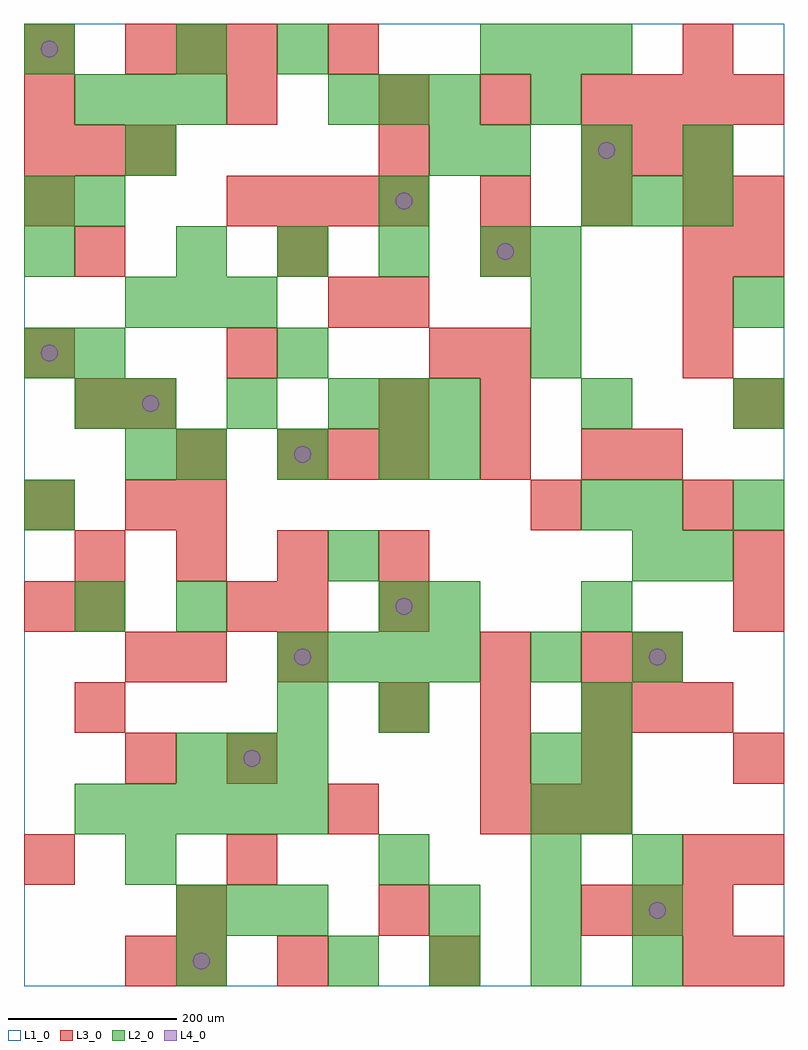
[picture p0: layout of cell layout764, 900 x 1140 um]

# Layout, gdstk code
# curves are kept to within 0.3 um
import gdstk
lib = gdstk.Library(unit=1e-6, precision=1e-09)
def R(c, l, rs):  # rectangles x0, y0, x1, y1
    for r in rs: c.add(gdstk.rectangle(r[:2], r[2:], *l))
def A(c, l, x, y, w, h, nx, ny, dx, dy):  # array of equal rectangles
    R(c, l, [(x+i*dx, y+j*dy, x+i*dx+w, y+j*dy+h) for i in range(nx) for j in range(ny)])
def P(c, l, *ps):  # polygons
    for p in ps: c.add(gdstk.Polygon(p, *l))
L1_0 = (1, 0)
L2_0 = (2, 0)
L3_0 = (3, 0)
L4_0 = (4, 0)

layout764 = lib.new_cell('layout764')
R(layout764, L1_0, [(0,0,900,1140)])
A(layout764, L2_0, 360, 0, 60, 60, 4, 1, 120, 0)
A(layout764, L2_0, 180, 60, 60, 60, 3, 2, 60, 180)
A(layout764, L2_0, 480, 60, 60, 60, 3, 1, 120, 0)
A(layout764, L2_0, 600, 120, 60, 60, 1, 3, 0, 60)
A(layout764, L2_0, 60, 180, 60, 60, 5, 1, 60, 0)
A(layout764, L2_0, 660, 180, 60, 60, 1, 3, 0, 60)
A(layout764, L2_0, 300, 360, 60, 60, 4, 1, 60, 0)
A(layout764, L2_0, 420, 420, 60, 60, 1, 3, 0, 240)
A(layout764, L2_0, 180, 600, 60, 60, 3, 1, 120, 0)
A(layout764, L2_0, 120, 660, 60, 60, 3, 1, 120, 0)
A(layout764, L2_0, 480, 660, 60, 60, 3, 1, 180, 0)
A(layout764, L2_0, 600, 720, 60, 60, 1, 3, 0, 60)
A(layout764, L2_0, 120, 780, 60, 60, 3, 1, 60, 0)
A(layout764, L2_0, 180, 840, 60, 60, 4, 1, 120, 0)
A(layout764, L2_0, 660, 900, 60, 60, 3, 1, 60, 0)
A(layout764, L2_0, 540, 960, 60, 60, 3, 1, 120, 0)
A(layout764, L2_0, 60, 1020, 60, 60, 3, 1, 60, 0)
A(layout764, L2_0, 360, 1020, 60, 60, 3, 1, 60, 0)
A(layout764, L2_0, 540, 1080, 60, 60, 3, 1, 60, 0)
R(layout764, L2_0, [(180,0,240,60), (120,120,180,180), (420,120,480,180), (720,120,780,180), (300,300,360,360), (420,300,480,360), (600,360,660,420), (720,360,780,420), (60,420,120,480), (180,420,240,480), (480,420,540,480), (660,420,720,480), (360,480,420,540), (720,480,780,540), (780,480,840,540), (0,540,60,600), (660,540,720,600), (720,540,780,600), (840,540,900,600), (120,600,180,660), (480,600,540,660), (60,660,120,720), (0,720,60,780), (60,720,120,780), (300,720,360,780), (840,780,900,840), (0,840,60,900), (0,900,60,960), (60,900,120,960), (120,960,180,1020), (480,960,540,1020), (600,1020,660,1080), (0,1080,60,1140), (180,1080,240,1140), (300,1080,360,1140)])
A(layout764, L3_0, 780, 0, 60, 60, 1, 3, 0, 60)
A(layout764, L3_0, 840, 0, 60, 60, 1, 3, 0, 120)
A(layout764, L3_0, 180, 60, 60, 60, 3, 1, 240, 0)
A(layout764, L3_0, 540, 180, 60, 60, 3, 1, 60, 0)
A(layout764, L3_0, 420, 300, 60, 60, 3, 2, 120, 720)
A(layout764, L3_0, 60, 480, 60, 60, 4, 1, 120, 0)
A(layout764, L3_0, 840, 480, 60, 60, 1, 3, 0, 180)
A(layout764, L3_0, 300, 600, 60, 60, 3, 1, 60, 0)
A(layout764, L3_0, 540, 600, 60, 60, 1, 3, 0, 60)
A(layout764, L3_0, 0, 720, 60, 60, 3, 1, 240, 0)
A(layout764, L3_0, 60, 840, 60, 60, 4, 1, 240, 0)
A(layout764, L3_0, 240, 900, 60, 60, 4, 1, 60, 0)
A(layout764, L3_0, 540, 900, 60, 60, 3, 1, 120, 0)
A(layout764, L3_0, 0, 960, 60, 60, 3, 1, 60, 0)
A(layout764, L3_0, 660, 960, 60, 60, 3, 1, 60, 0)
A(layout764, L3_0, 720, 1020, 60, 60, 3, 1, 60, 0)
A(layout764, L3_0, 120, 1080, 60, 60, 3, 1, 60, 0)
R(layout764, L3_0, [(120,0,180,60), (180,0,240,60), (300,0,360,60), (480,0,540,60), (720,60,780,120), (0,120,60,180), (240,120,300,180), (360,180,420,240), (120,240,180,300), (240,240,300,300), (540,240,600,300), (660,240,720,300), (60,300,120,360), (720,300,780,360), (780,300,840,360), (120,360,180,420), (180,360,240,420), (300,360,360,420), (540,360,600,420), (660,360,720,420), (720,360,780,420), (0,420,60,480), (60,420,120,480), (240,420,300,480), (300,420,360,480), (420,420,480,480), (840,420,900,480), (0,540,60,600), (120,540,180,600), (180,540,240,600), (600,540,660,600), (780,540,840,600), (180,600,240,660), (660,600,720,660), (720,600,780,660), (60,660,120,720), (120,660,180,720), (420,660,480,720), (780,720,840,780), (360,780,420,840), (420,780,480,840), (780,780,840,840), (0,900,60,960), (840,900,900,960), (420,960,480,1020), (0,1020,60,1080), (240,1020,300,1080), (0,1080,60,1140), (360,1080,420,1140), (780,1080,840,1140)])
P(layout764, L4_0, [(40,750),(39.239,753.827),(37.071,757.071),(33.827,759.239),(30,760),(26.173,759.239),(22.929,757.071),(20.761,753.827),(20,750),(20.761,746.173),(22.929,742.929),(26.173,740.761),(30,740),(33.827,740.761),(37.071,742.929),(39.239,746.173)],
  [(40,1110),(39.239,1113.827),(37.071,1117.071),(33.827,1119.239),(30,1120),(26.173,1119.239),(22.929,1117.071),(20.761,1113.827),(20,1110),(20.761,1106.173),(22.929,1102.929),(26.173,1100.761),(30,1100),(33.827,1100.761),(37.071,1102.929),(39.239,1106.173)],
  [(160,690),(159.239,693.827),(157.071,697.071),(153.827,699.239),(150,700),(146.173,699.239),(142.929,697.071),(140.761,693.827),(140,690),(140.761,686.173),(142.929,682.929),(146.173,680.761),(150,680),(153.827,680.761),(157.071,682.929),(159.239,686.173)],
  [(220,30),(219.239,33.827),(217.071,37.071),(213.827,39.239),(210,40),(206.173,39.239),(202.929,37.071),(200.761,33.827),(200,30),(200.761,26.173),(202.929,22.929),(206.173,20.761),(210,20),(213.827,20.761),(217.071,22.929),(219.239,26.173)],
  [(280,270),(279.239,273.827),(277.071,277.071),(273.827,279.239),(270,280),(266.173,279.239),(262.929,277.071),(260.761,273.827),(260,270),(260.761,266.173),(262.929,262.929),(266.173,260.761),(270,260),(273.827,260.761),(277.071,262.929),(279.239,266.173)],
  [(340,390),(339.239,393.827),(337.071,397.071),(333.827,399.239),(330,400),(326.173,399.239),(322.929,397.071),(320.761,393.827),(320,390),(320.761,386.173),(322.929,382.929),(326.173,380.761),(330,380),(333.827,380.761),(337.071,382.929),(339.239,386.173)],
  [(340,630),(339.239,633.827),(337.071,637.071),(333.827,639.239),(330,640),(326.173,639.239),(322.929,637.071),(320.761,633.827),(320,630),(320.761,626.173),(322.929,622.929),(326.173,620.761),(330,620),(333.827,620.761),(337.071,622.929),(339.239,626.173)],
  [(460,450),(459.239,453.827),(457.071,457.071),(453.827,459.239),(450,460),(446.173,459.239),(442.929,457.071),(440.761,453.827),(440,450),(440.761,446.173),(442.929,442.929),(446.173,440.761),(450,440),(453.827,440.761),(457.071,442.929),(459.239,446.173)],
  [(460,930),(459.239,933.827),(457.071,937.071),(453.827,939.239),(450,940),(446.173,939.239),(442.929,937.071),(440.761,933.827),(440,930),(440.761,926.173),(442.929,922.929),(446.173,920.761),(450,920),(453.827,920.761),(457.071,922.929),(459.239,926.173)],
  [(580,870),(579.239,873.827),(577.071,877.071),(573.827,879.239),(570,880),(566.173,879.239),(562.929,877.071),(560.761,873.827),(560,870),(560.761,866.173),(562.929,862.929),(566.173,860.761),(570,860),(573.827,860.761),(577.071,862.929),(579.239,866.173)],
  [(700,990),(699.239,993.827),(697.071,997.071),(693.827,999.239),(690,1000),(686.173,999.239),(682.929,997.071),(680.761,993.827),(680,990),(680.761,986.173),(682.929,982.929),(686.173,980.761),(690,980),(693.827,980.761),(697.071,982.929),(699.239,986.173)],
  [(760,90),(759.239,93.827),(757.071,97.071),(753.827,99.239),(750,100),(746.173,99.239),(742.929,97.071),(740.761,93.827),(740,90),(740.761,86.173),(742.929,82.929),(746.173,80.761),(750,80),(753.827,80.761),(757.071,82.929),(759.239,86.173)],
  [(760,390),(759.239,393.827),(757.071,397.071),(753.827,399.239),(750,400),(746.173,399.239),(742.929,397.071),(740.761,393.827),(740,390),(740.761,386.173),(742.929,382.929),(746.173,380.761),(750,380),(753.827,380.761),(757.071,382.929),(759.239,386.173)])

lib.write_gds('layout764.gds')
